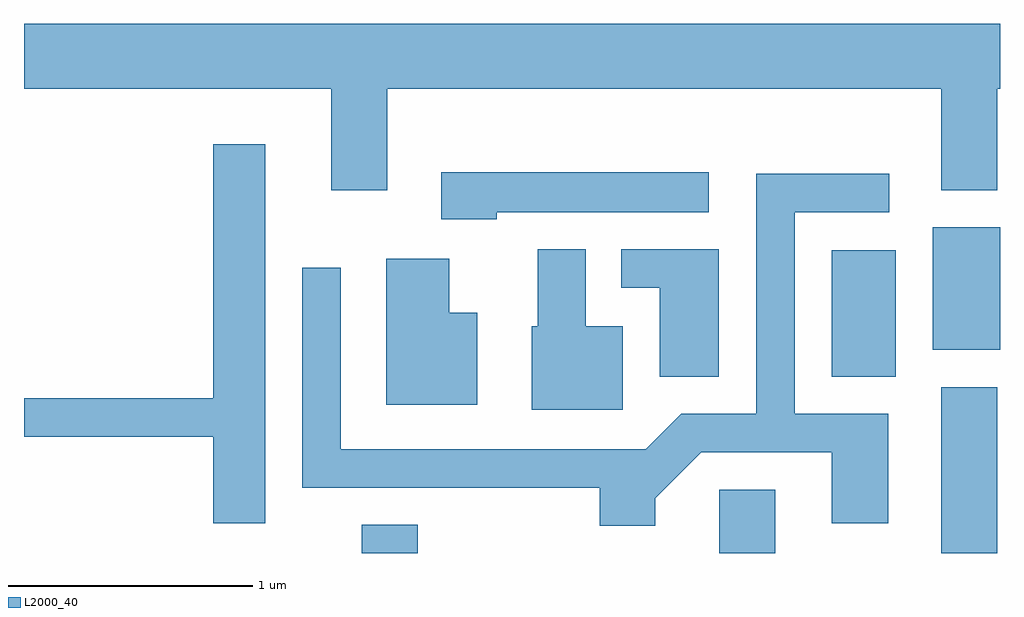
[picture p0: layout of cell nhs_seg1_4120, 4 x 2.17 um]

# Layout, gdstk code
import gdstk
lib = gdstk.Library(unit=1e-6, precision=1e-09)
def R(c, l, rs):  # rectangles x0, y0, x1, y1
    for r in rs: c.add(gdstk.rectangle(r[:2], r[2:], *l))
def P(c, l, *ps):  # polygons
    for p in ps: c.add(gdstk.Polygon(p, *l))
L2000_40 = (2000, 40)

nhs_seg1_4120 = lib.new_cell('nhs_seg1_4120')
R(nhs_seg1_4120, L2000_40, [(310.996,857.712,311.224,857.829), (312.461,857.712,312.689,857.974), (313.371,857.712,313.599,858.394), (312.921,858.436,313.184,858.954), (313.336,858.546,313.611,859.049)])
P(nhs_seg1_4120, L2000_40, [(311.099,859.616),(313.371,859.616),(313.371,859.201),(313.599,859.201),(313.599,859.616),(313.611,859.616),(313.611,859.884),(309.611,859.884),(309.611,859.616),(310.871,859.616),(310.871,859.201),(311.099,859.201)],
  [(310.599,859.389),(310.386,859.389),(310.386,858.349),(309.611,858.349),(309.611,858.191),(310.386,858.191),(310.386,857.836),(310.599,857.836)],
  [(311.549,859.111),(312.418,859.111),(312.418,859.274),(311.321,859.274),(311.321,859.081),(311.549,859.081)],
  [(312.199,857.939),(312.387,858.126),(312.921,858.126),(312.921,857.836),(313.154,857.836),(313.154,858.284),(312.769,858.284),(312.769,859.111),(313.158,859.111),(313.158,859.269),(312.611,859.269),(312.611,858.284),(312.304,858.284),(312.159,858.139),(310.909,858.139),(310.909,858.883),(310.751,858.883),(310.751,857.981),(311.971,857.981),(311.971,857.826),(312.199,857.826)],
  [(312.064,858.644),(311.914,858.644),(311.914,858.959),(311.716,858.959),(311.716,858.644),(311.691,858.644),(311.691,858.301),(312.064,858.301)],
  [(312.459,858.959),(312.058,858.959),(312.058,858.801),(312.216,858.801),(312.216,858.436),(312.459,858.436)],
  [(311.469,858.699),(311.354,858.699),(311.354,858.919),(311.096,858.919),(311.096,858.321),(311.469,858.321)])

lib.write_gds('nhs_seg1_4120.gds')
